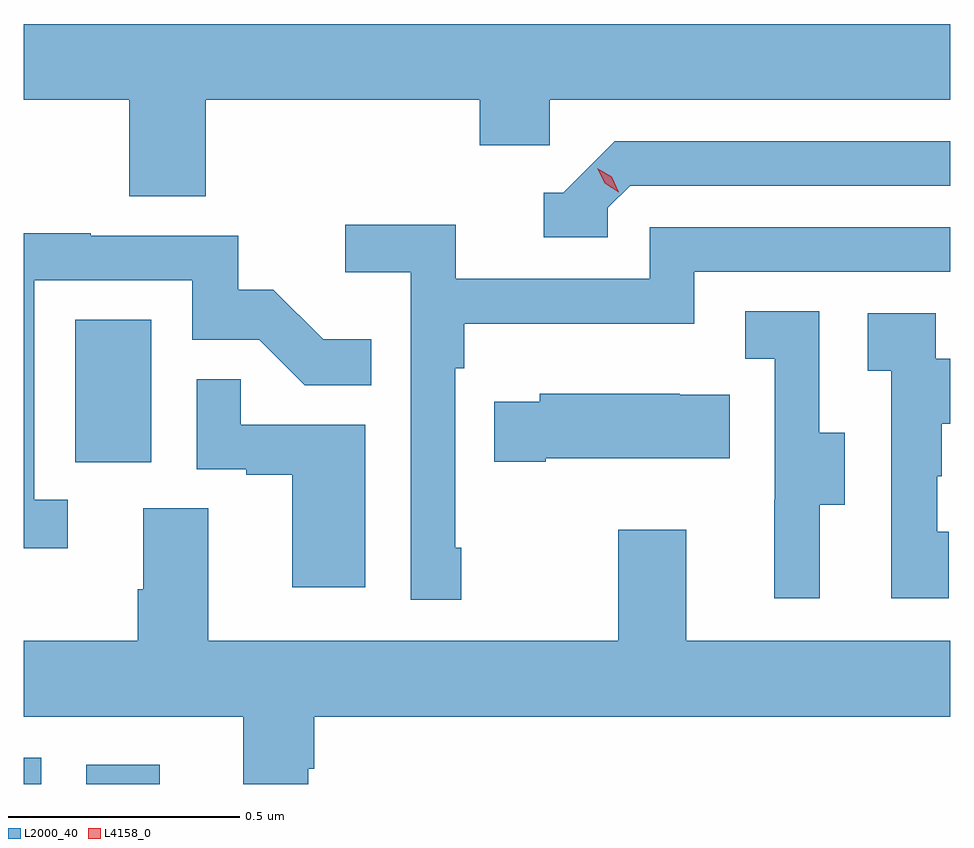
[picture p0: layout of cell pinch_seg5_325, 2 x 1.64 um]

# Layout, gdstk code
import gdstk
lib = gdstk.Library(unit=1e-6, precision=1e-09)
def R(c, l, rs):  # rectangles x0, y0, x1, y1
    for r in rs: c.add(gdstk.rectangle(r[:2], r[2:], *l))
def P(c, l, *ps):  # polygons
    for p in ps: c.add(gdstk.Polygon(p, *l))
L2000_40 = (2000, 40)
L4158_0 = (4158, 0)

pinch_seg5_325 = lib.new_cell('pinch_seg5_325')
R(pinch_seg5_325, L2000_40, [(937.547,875.263,937.584,875.32), (937.682,875.263,937.84,875.305), (937.658,875.958,937.822,876.265)])
P(pinch_seg5_325, L2000_40, [(937.94,876.74),(938.531,876.74),(938.531,876.642),(938.682,876.642),(938.682,876.74),(939.547,876.74),(939.547,876.904),(937.547,876.904),(937.547,876.74),(937.775,876.74),(937.775,876.532),(937.94,876.532)],
  [(938.808,876.507),(938.856,876.555),(939.547,876.555),(939.547,876.651),(938.823,876.651),(938.712,876.54),(938.669,876.54),(938.669,876.444),(938.808,876.444)],
  [(938.491,875.773),(938.478,875.773),(938.478,876.161),(938.498,876.161),(938.498,876.257),(938.994,876.257),(938.994,876.369),(939.547,876.369),(939.547,876.465),(938.898,876.465),(938.898,876.354),(938.48,876.354),(938.48,876.47),(938.241,876.47),(938.241,876.368),(938.382,876.368),(938.382,875.661),(938.491,875.661)],
  [(937.642,875.877),(937.569,875.877),(937.569,876.351),(937.911,876.351),(937.911,876.222),(938.055,876.222),(938.153,876.124),(938.297,876.124),(938.297,876.223),(938.193,876.223),(938.086,876.33),(938.01,876.33),(938.01,876.447),(937.691,876.447),(937.691,876.452),(937.547,876.452),(937.547,875.772),(937.642,875.772)],
  [(939.265,875.866),(939.319,875.866),(939.319,876.021),(939.264,876.021),(939.264,876.284),(939.105,876.284),(939.105,876.181),(939.168,876.181),(939.168,875.877),(939.167,875.877),(939.167,875.664),(939.265,875.664)],
  [(939.544,875.808),(939.519,875.808),(939.519,875.927),(939.529,875.927),(939.529,876.041),(939.547,876.041),(939.547,876.181),(939.516,876.181),(939.516,876.279),(939.369,876.279),(939.369,876.155),(939.42,876.155),(939.42,875.664),(939.544,875.664)],
  [(938.284,876.039),(938.015,876.039),(938.015,876.137),(937.92,876.137),(937.92,875.943),(938.027,875.943),(938.027,875.931),(938.126,875.931),(938.126,875.688),(938.284,875.688)],
  [(938.674,875.966),(939.071,875.966),(939.071,876.103),(938.963,876.103),(938.963,876.106),(938.661,876.106),(938.661,876.088),(938.563,876.088),(938.563,875.959),(938.674,875.959)],
  [(938.161,875.296),(938.174,875.296),(938.174,875.408),(939.547,875.408),(939.547,875.572),(938.977,875.572),(938.977,875.812),(938.83,875.812),(938.83,875.572),(937.945,875.572),(937.945,875.858),(937.805,875.858),(937.805,875.684),(937.793,875.684),(937.793,875.572),(937.547,875.572),(937.547,875.408),(938.021,875.408),(938.021,875.263),(938.161,875.263)])
P(pinch_seg5_325, L4158_0, [(938.832,876.541),(938.801,876.56),(938.785,876.593),(938.785,876.593),(938.785,876.593),(938.816,876.574),(938.832,876.541),(938.832,876.541)])

lib.write_gds('pinch_seg5_325.gds')
